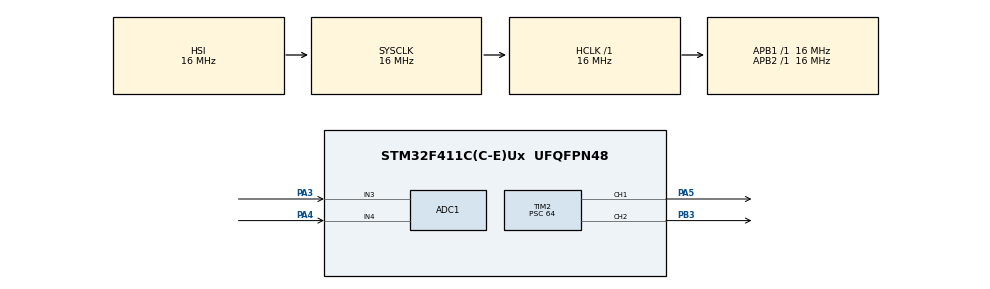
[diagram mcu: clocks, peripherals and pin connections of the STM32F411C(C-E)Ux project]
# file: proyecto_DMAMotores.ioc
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ADC1.Channel-0\#ChannelRegularConversion=ADC_CHANNEL_3
ADC1.Channel-1\#ChannelRegularConversion=ADC_CHANNEL_4
ADC1.ContinuousConvMode=ENABLE
ADC1.DMAContinuousRequests=ENABLE
ADC1.EOCSelection=ADC_EOC_SINGLE_CONV
ADC1.NbrOfConversion=2
ADC1.NbrOfConversionFlag=1
ADC1.Rank-0\#ChannelRegularConversion=1
ADC1.Rank-1\#ChannelRegularConversion=2
ADC1.SamplingTime-0\#ChannelRegularConversion=ADC_SAMPLETIME_480CYCLES
ADC1.SamplingTime-1\#ChannelRegularConversion=ADC_SAMPLETIME_480CYCLES
ADC1.master=1
Dma.ADC1.0.Direction=DMA_PERIPH_TO_MEMORY
Dma.ADC1.0.FIFOMode=DMA_FIFOMODE_DISABLE
Dma.ADC1.0.Instance=DMA2_Stream0
Dma.ADC1.0.MemDataAlignment=DMA_MDATAALIGN_HALFWORD
Dma.ADC1.0.MemInc=DMA_MINC_ENABLE
Dma.ADC1.0.Mode=DMA_NORMAL
Dma.ADC1.0.PeriphDataAlignment=DMA_PDATAALIGN_HALFWORD
Dma.ADC1.0.PeriphInc=DMA_PINC_DISABLE
Dma.ADC1.0.Priority=DMA_PRIORITY_LOW
Dma.Request0=ADC1
Mcu.Family=STM32F4
Mcu.Name=STM32F411C(C-E)Ux
Mcu.Package=UFQFPN48
NVIC.ADC_IRQn=true\:0\:0\:false\:false\:true\:true\:true\:true
NVIC.DMA2_Stream0_IRQn=true\:0\:0\:false\:false\:true\:false\:true\:true
NVIC.PriorityGroup=NVIC_PRIORITYGROUP_4
NVIC.TIM2_IRQn=true\:0\:0\:false\:false\:true\:true\:true\:true
PA13.Mode=Serial_Wire
PA13.Signal=SYS_JTMS-SWDIO
PA14.Mode=Serial_Wire
PA14.Signal=SYS_JTCK-SWCLK
PA3.Signal=ADCx_IN3
PA4.Signal=ADCx_IN4
PA5.Signal=S_TIM2_CH1_ETR
PB3.Signal=S_TIM2_CH2
PC14-OSC32_IN.Mode=LSE-External-Oscillator
PC14-OSC32_IN.Signal=RCC_OSC32_IN
PC15-OSC32_OUT.Mode=LSE-External-Oscillator
PC15-OSC32_OUT.Signal=RCC_OSC32_OUT
PH0\ -\ OSC_IN.Mode=HSE-External-Oscillator
PH0\ -\ OSC_IN.Signal=RCC_OSC_IN
PH1\ -\ OSC_OUT.Mode=HSE-External-Oscillator
PH1\ -\ OSC_OUT.Signal=RCC_OSC_OUT
ProjectManager.HeapSize=0x200
ProjectManager.StackSize=0x400
ProjectManager.TargetToolchain=STM32CubeIDE
RCC.AHBFreq_Value=16000000
RCC.APB1Freq_Value=16000000
RCC.APB2Freq_Value=16000000
RCC.CortexFreq_Value=16000000
RCC.HSE_VALUE=25000000
RCC.HSI_VALUE=16000000
RCC.SYSCLKFreq_VALUE=16000000
RCC.VCOOutputFreq_Value=192000000
SH.ADCx_IN3.0=ADC1_IN3,IN3
SH.ADCx_IN4.0=ADC1_IN4,IN4
SH.S_TIM2_CH1_ETR.0=TIM2_CH1,PWM Generation1 CH1
SH.S_TIM2_CH2.0=TIM2_CH2,PWM Generation2 CH2
TIM2.Channel-PWM\ Generation1\ CH1=TIM_CHANNEL_1
TIM2.Channel-PWM\ Generation2\ CH2=TIM_CHANNEL_2
TIM2.Period=2499
TIM2.Prescaler=64
VP_TIM2_VS_ClockSourceINT.Mode=Internal
board=custom

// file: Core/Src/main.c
/* USER CODE BEGIN Header */
/**
  ******************************************************************************
  * @file           : main.c
  * @brief          : Main program body
  ******************************************************************************
  * @attention
  *
  * Copyright (c) 2023 STMicroelectronics.
  * All rights reserved.
  *
  * This software is licensed under terms that can be found in the LICENSE file
  * in the root directory of this software component.
  * If no LICENSE file comes with this software, it is provided AS-IS.
  *
  ******************************************************************************
  */
/* USER CODE END Header */
#include "main.h"

ADC_HandleTypeDef hadc1;
DMA_HandleTypeDef hdma_adc1;

TIM_HandleTypeDef htim2;

/* USER CODE BEGIN PV */
volatile uint16_t adcVal[2];
int adc1, adc2;
int aux = 0, aux2 = 0;
int gripper = 0, art = 0;

/* USER CODE END PV */

void SystemClock_Config(void);
static void MX_GPIO_Init(void);
static void MX_DMA_Init(void);
static void MX_ADC1_Init(void);
static void MX_TIM2_Init(void);

int main(void)
{

  /* MCU Configuration--------------------------------------------------------*/

  /* Reset of all peripherals, Initializes the Flash interface and the Systick. */
  HAL_Init();

  /* Configure the system clock */
  SystemClock_Config();

  /* Initialize all configured peripherals */
  MX_GPIO_Init();
  MX_DMA_Init();
  MX_ADC1_Init();
  MX_TIM2_Init();
  /* USER CODE BEGIN 2 */
  HAL_TIM_PWM_Start(&htim2, TIM_CHANNEL_1);
  HAL_TIM_PWM_Start(&htim2, TIM_CHANNEL_2);

  TIM2->CCR1 = 62;
  TIM2->CCR2 = 83;
  art = 0;

  /* USER CODE END 2 */

  /* Infinite loop */
  /* USER CODE BEGIN WHILE */
  while (1)
  {
	  aux = TIM2->CCR1;
	  aux2 = TIM2->CCR2;
	  HAL_ADC_Start_DMA(&hadc1, adcVal, 2);
	  TIM2->CCR1 +=1;
	  gripper = TIM2->CCR1;
	  if(TIM2->CCR1 > 131)
	  {
		  HAL_Delay(500);
		  TIM2->CCR2 = 197;
		  art = 90;
		  TIM2->CCR1 = 62;
	  }

    /* USER CODE END WHILE */

  }
}

void SystemClock_Config(void)
{
  RCC_OscInitTypeDef RCC_OscInitStruct = {0};
  RCC_ClkInitTypeDef RCC_ClkInitStruct = {0};

  /** Configure the main internal regulator output voltage
  */
  __HAL_RCC_PWR_CLK_ENABLE();
  __HAL_PWR_VOLTAGESCALING_CONFIG(PWR_REGULATOR_VOLTAGE_SCALE1);

  /** Initializes the RCC Oscillators according to the specified parameters
  * in the RCC_OscInitTypeDef structure.
  */
  RCC_OscInitStruct.OscillatorType = RCC_OSCILLATORTYPE_HSI;
  RCC_OscInitStruct.HSIState = RCC_HSI_ON;
  RCC_OscInitStruct.HSICalibrationValue = RCC_HSICALIBRATION_DEFAULT;
  RCC_OscInitStruct.PLL.PLLState = RCC_PLL_NONE;
  if (HAL_RCC_OscConfig(&RCC_OscInitStruct) != HAL_OK)
  {
    Error_Handler();
  }

  /** Initializes the CPU, AHB and APB buses clocks
  */
  RCC_ClkInitStruct.ClockType = RCC_CLOCKTYPE_HCLK|RCC_CLOCKTYPE_SYSCLK
                              |RCC_CLOCKTYPE_PCLK1|RCC_CLOCKTYPE_PCLK2;
  RCC_ClkInitStruct.SYSCLKSource = RCC_SYSCLKSOURCE_HSI;
  RCC_ClkInitStruct.AHBCLKDivider = RCC_SYSCLK_DIV1;
  RCC_ClkInitStruct.APB1CLKDivider = RCC_HCLK_DIV1;
  RCC_ClkInitStruct.APB2CLKDivider = RCC_HCLK_DIV1;

  if (HAL_RCC_ClockConfig(&RCC_ClkInitStruct, FLASH_LATENCY_0) != HAL_OK)
  {
    Error_Handler();
  }
}

static void MX_ADC1_Init(void)
{

  ADC_ChannelConfTypeDef sConfig = {0};

  /** Configure the global features of the ADC (Clock, Resolution, Data Alignment and number of conversion)
  */
  hadc1.Instance = ADC1;
  hadc1.Init.ClockPrescaler = ADC_CLOCK_SYNC_PCLK_DIV2;
  hadc1.Init.Resolution = ADC_RESOLUTION_12B;
  hadc1.Init.ScanConvMode = ENABLE;
  hadc1.Init.ContinuousConvMode = ENABLE;
  hadc1.Init.DiscontinuousConvMode = DISABLE;
  hadc1.Init.ExternalTrigConvEdge = ADC_EXTERNALTRIGCONVEDGE_NONE;
  hadc1.Init.ExternalTrigConv = ADC_SOFTWARE_START;
  hadc1.Init.DataAlign = ADC_DATAALIGN_RIGHT;
  hadc1.Init.NbrOfConversion = 2;
  hadc1.Init.DMAContinuousRequests = ENABLE;
  hadc1.Init.EOCSelection = ADC_EOC_SINGLE_CONV;
  if (HAL_ADC_Init(&hadc1) != HAL_OK)
  {
    Error_Handler();
  }

  /** Configure for the selected ADC regular channel its corresponding rank in the sequencer and its sample time.
  */
  sConfig.Channel = ADC_CHANNEL_3;
  sConfig.Rank = 1;
  sConfig.SamplingTime = ADC_SAMPLETIME_480CYCLES;
  if (HAL_ADC_ConfigChannel(&hadc1, &sConfig) != HAL_OK)
  {
    Error_Handler();
  }

  /** Configure for the selected ADC regular channel its corresponding rank in the sequencer and its sample time.
  */
  sConfig.Channel = ADC_CHANNEL_4;
  sConfig.Rank = 2;
  if (HAL_ADC_ConfigChannel(&hadc1, &sConfig) != HAL_OK)
  {
    Error_Handler();
  }

}

static void MX_TIM2_Init(void)
{

  TIM_ClockConfigTypeDef sClockSourceConfig = {0};
  TIM_MasterConfigTypeDef sMasterConfig = {0};
  TIM_OC_InitTypeDef sConfigOC = {0};

  htim2.Instance = TIM2;
  htim2.Init.Prescaler = 64;
  htim2.Init.CounterMode = TIM_COUNTERMODE_UP;
  htim2.Init.Period = 2499;
  htim2.Init.ClockDivision = TIM_CLOCKDIVISION_DIV1;
  htim2.Init.AutoReloadPreload = TIM_AUTORELOAD_PRELOAD_DISABLE;
  if (HAL_TIM_Base_Init(&htim2) != HAL_OK)
  {
    Error_Handler();
  }
  sClockSourceConfig.ClockSource = TIM_CLOCKSOURCE_INTERNAL;
  if (HAL_TIM_ConfigClockSource(&htim2, &sClockSourceConfig) != HAL_OK)
  {
    Error_Handler();
  }
  if (HAL_TIM_PWM_Init(&htim2) != HAL_OK)
  {
    Error_Handler();
  }
  sMasterConfig.MasterOutputTrigger = TIM_TRGO_RESET;
  sMasterConfig.MasterSlaveMode = TIM_MASTERSLAVEMODE_DISABLE;
  if (HAL_TIMEx_MasterConfigSynchronization(&htim2, &sMasterConfig) != HAL_OK)
  {
    Error_Handler();
  }
  sConfigOC.OCMode = TIM_OCMODE_PWM1;
  sConfigOC.Pulse = 0;
  sConfigOC.OCPolarity = TIM_OCPOLARITY_HIGH;
  sConfigOC.OCFastMode = TIM_OCFAST_DISABLE;
  if (HAL_TIM_PWM_ConfigChannel(&htim2, &sConfigOC, TIM_CHANNEL_1) != HAL_OK)
  {
    Error_Handler();
  }
  if (HAL_TIM_PWM_ConfigChannel(&htim2, &sConfigOC, TIM_CHANNEL_2) != HAL_OK)
  {
    Error_Handler();
  }
  HAL_TIM_MspPostInit(&htim2);

}

static void MX_DMA_Init(void)
{

  /* DMA controller clock enable */
  __HAL_RCC_DMA2_CLK_ENABLE();

  /* DMA interrupt init */
  /* DMA2_Stream0_IRQn interrupt configuration */
  HAL_NVIC_SetPriority(DMA2_Stream0_IRQn, 0, 0);
  HAL_NVIC_EnableIRQ(DMA2_Stream0_IRQn);

}

static void MX_GPIO_Init(void)
{

  /* GPIO Ports Clock Enable */
  __HAL_RCC_GPIOC_CLK_ENABLE();
  __HAL_RCC_GPIOH_CLK_ENABLE();
  __HAL_RCC_GPIOA_CLK_ENABLE();
  __HAL_RCC_GPIOB_CLK_ENABLE();

}

/* USER CODE BEGIN 4 */
void HAL_ADC_ConvCpltCallback(ADC_HandleTypeDef* hadc)
{
	adc1 = adcVal[0];
	adc2 = adcVal[1];
}
/* USER CODE END 4 */

void Error_Handler(void)
{
  __disable_irq();
  while (1)
  {
  }
}
